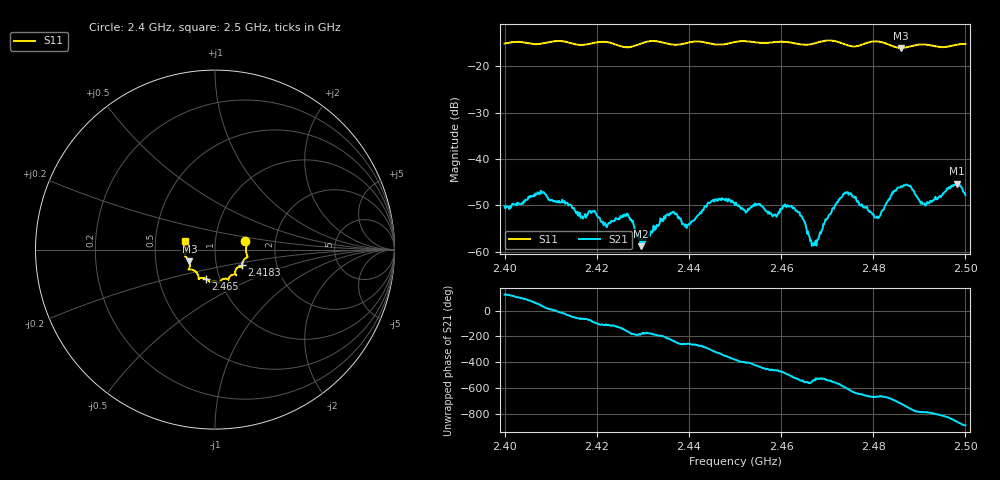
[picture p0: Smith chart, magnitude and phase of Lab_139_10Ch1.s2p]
# Hz S RI R 50
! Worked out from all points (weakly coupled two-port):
!   601 points, 2.4 GHz to 2.5 GHz, reference 50 ohm
!   highest |S21| = -45.31 dB at 2.4982 GHz (marker M1); lowest = -58.8 dB at 2.4297 GHz (marker M2)
!   lowest |S11| = -16.1 dB at 2.486 GHz (marker M3), VSWR 1.37, Z = 37.3 - j4.97 ohm
!   |S11| at or under -10 dB: start of sweep to end of sweep
!   S12 and S22 are empty: the file has one direction only
!   S11 on the Smith chart (normalised r, x): 2.4 GHz: 1.40, +0.13; 2.4183 GHz: 1.33, -0.24; 2.465 GHz: 0.86, -0.28; 2.5 GHz: 0.71, +0.07
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2.4e9  0.1688 0.0464  -0.00169 0.0026  0 0  0 0
2.408333e9  0.1747 -0.0195  0.0038 0.0022  0 0  0 0
2.416667e9  0.1549 -0.068  0.00103 -0.00217  0 0  0 0
2.418333e9  0.1498 -0.0871  0.000845 -0.00262  0 0  0 0
2.422e9  0.1526 -0.0993  -0.000568 -0.00186  0 0  0 0
2.4265e9  0.1215 -0.1033  -0.00241 -0.000901  0 0  0 0
2.429667e9  0.1131 -0.1343  -0.00115 2.78e-06  0 0  0 0
2.433333e9  0.1177 -0.1413  -0.00184 0.000456  0 0  0 0
2.439667e9  0.0762 -0.1609  -0.00041 0.00188  0 0  0 0
2.4455e9  0.0582 -0.1616  0.00254 0.00236  0 0  0 0
2.45e9  0.0256 -0.1801  0.00301 -0.00104  0 0  0 0
2.458667e9  -0.0217 -0.1799  -0.000596 -0.00245  0 0  0 0
2.461833e9  -0.0314 -0.1775  -0.0024 -0.00195  0 0  0 0
2.465e9  -0.0523 -0.1613  -0.00207 0.000505  0 0  0 0
2.466667e9  -0.0711 -0.1573  -0.00113 0.000268  0 0  0 0
2.474e9  -0.0944 -0.142  -0.00223 0.00365  0 0  0 0
2.480667e9  -0.1481 -0.1106  0.00146 0.00183  0 0  0 0
2.483333e9  -0.141 -0.0966  0.0027 0.00249  0 0  0 0
2.486e9  -0.1424 -0.065  0.00507 -1.79e-05  0 0  0 0
2.491167e9  -0.1674 -0.0331  0.00125 -0.00308  0 0  0 0
2.498167e9  -0.1663 0.037  -0.00421 -0.00342  0 0  0 0
2.5e9  -0.1667 0.0471  -0.00402 -0.000696  0 0  0 0
